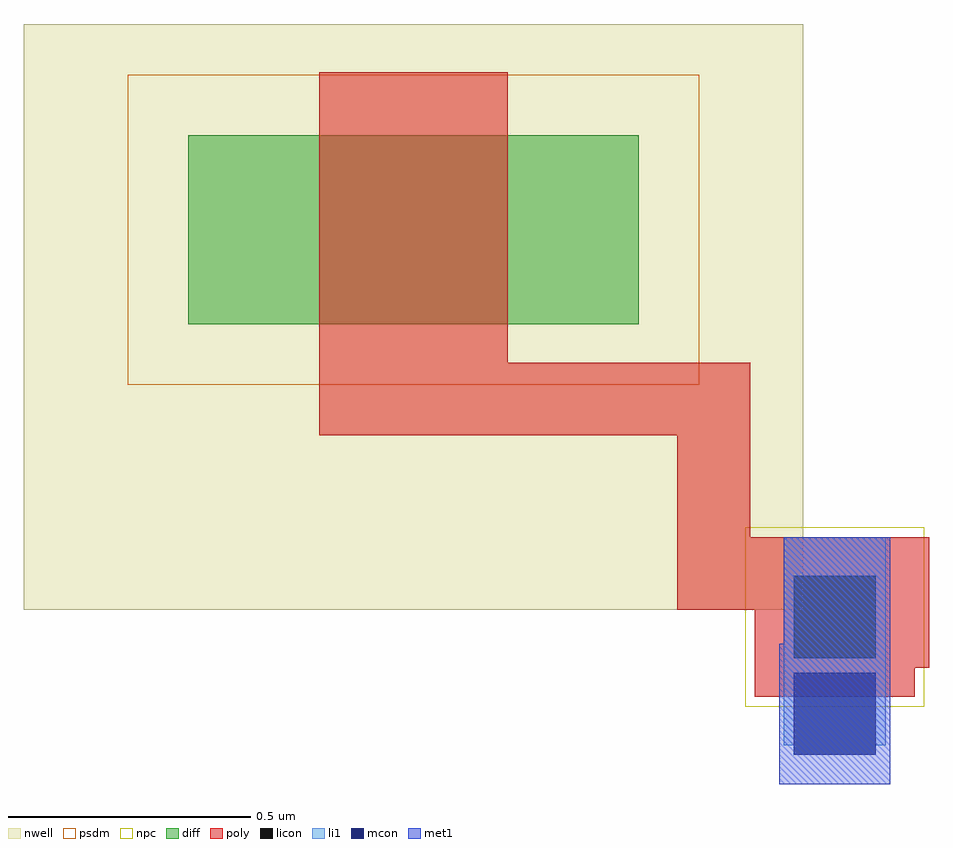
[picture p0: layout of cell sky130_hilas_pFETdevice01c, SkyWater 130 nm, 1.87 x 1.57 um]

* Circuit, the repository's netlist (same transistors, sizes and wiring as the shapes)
* NGSPICE file created from /home/bjmuld/work/hilas/fastlane/PDKs/sky130A_hilas/libs.ref/sky130_hilas_sc/mag/sky130_hilas_pFETdevice01c.ext - technology: sky130A


* Top level circuit /home/bjmuld/work/hilas/fastlane/PDKs/sky130A_hilas/libs.ref/sky130_hilas_sc/mag/sky130_hilas_pFETdevice01c

X0 a_42_n38# a_n36_n84# a_n90_n38# w_n158_n156# sky130_fd_pr__pfet_01v8 w=390000u l=390000u
.end

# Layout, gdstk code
import gdstk
lib = gdstk.Library(unit=1e-6, precision=1e-09)
def R(c, l, rs):  # rectangles x0, y0, x1, y1
    for r in rs: c.add(gdstk.rectangle(r[:2], r[2:], *l))
nwell = (64, 20)
diff = (65, 20)
poly = (66, 20)
licon = (66, 44)
li1 = (67, 20)
mcon = (67, 44)
met1 = (68, 20)
psdm = (94, 20)
npc = (95, 20)

sky130_hilas_poly2m1 = lib.new_cell('sky130_hilas_poly2m1')
R(sky130_hilas_poly2m1, poly, [(-0.09,-0.08,0.24,0.25)])
R(sky130_hilas_poly2m1, licon, [(-0.01,0,0.16,0.17)])
R(sky130_hilas_poly2m1, li1, [(-0.01,-0.2,0.16,-0.18), (-0.03,-0.18,0.18,0.25)])
R(sky130_hilas_poly2m1, mcon, [(-0.01,-0.2,0.16,-0.03)])
R(sky130_hilas_poly2m1, met1, [(-0.04,-0.26,0.19,0.03), (-0.03,0.03,0.19,0.25)])
R(sky130_hilas_poly2m1, npc, [(-0.11,-0.1,0.26,0.27)])

sky130_hilas_pfetdevice0 = lib.new_cell('sky130_hilas_pFETdevice01c')
R(sky130_hilas_pfetdevice0, nwell, [(-0.79,-0.78,0.82,0.43)])
R(sky130_hilas_pfetdevice0, diff, [(-0.45,-0.19,0.48,0.2)])
R(sky130_hilas_pfetdevice0, poly, [(0.93,-0.9,1.08,-0.78), (0.8,-0.79,0.85,-0.78), (0.56,-0.78,1.08,-0.63), (0.56,-0.63,0.71,-0.42), (-0.18,-0.42,0.71,-0.27), (-0.18,-0.27,0.21,0.33)])
R(sky130_hilas_pfetdevice0, psdm, [(-0.575,-0.315,0.605,0.325)])
sky130_hilas_pfetdevice0.add(gdstk.Reference(sky130_hilas_poly2m1, (0.81,-0.88)))

lib.write_gds('sky130_hilas_pFETdevice01c.gds')
